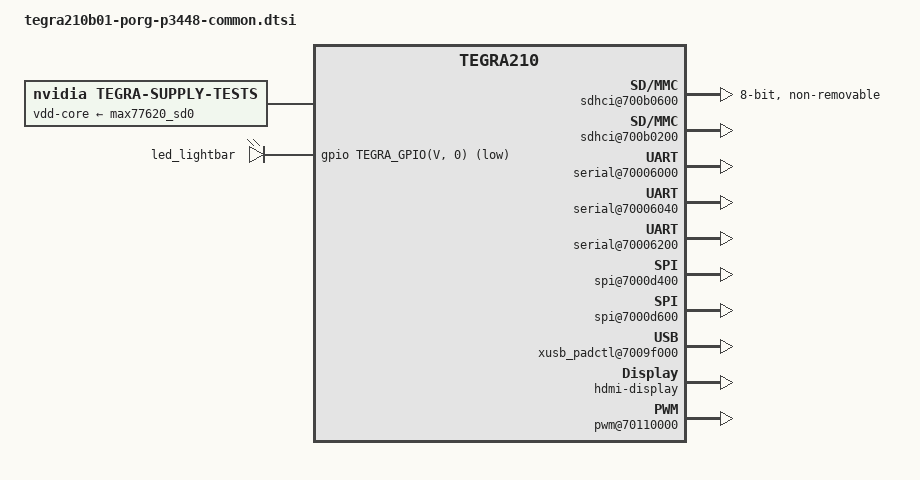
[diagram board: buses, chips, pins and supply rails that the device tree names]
/*
 * Copyright (c) 2018, NVIDIA CORPORATION.  All rights reserved.
 *
 * This program is free software; you can redistribute it and/or modify
 * it under the terms of the GNU General Public License as published by
 * the Free Software Foundation; either version 2 of the License, or
 * (at your option) any later version.
 *
 * This program is distributed in the hope that it will be useful, but WITHOUT
 * ANY WARRANTY; without even the implied warranty of MERCHANTABILITY or
 * FITNESS FOR A PARTICULAR PURPOSE.  See the GNU General Public License for
 * more details.
 *
 * You should have received a copy of the GNU General Public License along
 * with this program; if not, write to the Free Software Foundation, Inc.,
 * 51 Franklin Street, Fifth Floor, Boston, MA  02110-1301, USA.
 */

/dts-v1/;

/memreserve/ 0x80000000 0x00020000;

#include <tegra210b01-soc/tegra210b01-soc-common-platform.dtsi>
#include <tegra210-soc/mods-simple-bus.dtsi>
#include <tegra210-soc/tegra210-audio.dtsi>
#include <t210-common-platforms/tegra210-p2530-common.dtsi>
#include "foster-platforms/tegra210-darcy-gpio-p2894-0000-a00.dtsi"
#include "foster-platforms/tegra210-pinmux-drive-sdmmc-common.dtsi"
#include "foster-platforms/tegra210-loki-e-comms.dtsi"
#include "foster-platforms/tegra210-darcy-pwm-fan.dtsi"
#include "foster-platforms/tegra210-darcy-prods.dtsi"
#include "foster-platforms/tegra210-foster-e-camera.dtsi"
#include <t210-common-platforms/tegra210-ers-hdmi-e2190-1100-a00.dtsi>
#include "foster-platforms/tegra210-darcy-thermal-fan-est.dtsi"
#include "foster-platforms/tegra210-loki-e-keys-p2530-0032-e00.dtsi"
#include <dt-bindings/iio/meter/ina3221x.h>
#include "porg-platforms/tegra210b01-porg-cpufreq.dtsi"
#include "porg-platforms/tegra210b01-porg-power-dvfs.dtsi"
#include "foster-platforms/tegra210-foster-powermon-p2530-0930-e01.dtsi"

/ {
	gpio-keys {
		power {
			gpios = <&gpio TEGRA_GPIO(X, 5) GPIO_ACTIVE_LOW>;
		};
		forcerecovery {
			gpios = <&gpio TEGRA_GPIO(X, 6) GPIO_ACTIVE_LOW>;
		};
	};

	psy_extcon_xudc {
		status = "disabled";
		/delete-property/ dt-override-status-odm-data;
	};

	se_elp@70420000 {
		status = "disabled";
	};

	dummy_cool_dev: dummy-cool-dev {
		compatible = "dummy-cooling-dev";
		#cooling-cells = <2>; /* min followed by max */
	};

	pmc@7000e400 {
		#nvidia,wake-cells = <3>;
		nvidia,suspend-mode = <0>;
		nvidia,cpu-pwr-good-time = <0>;
		nvidia,cpu-pwr-off-time = <0>;
		nvidia,core-pwr-good-time = <4587 3876>;
		nvidia,core-pwr-off-time = <39065>;
		nvidia,core-power-req-active-high;
		nvidia,sys-clock-req-active-high;
		nvidia,restrict-voltage-switch;
		pinctrl_iopad_default:iopad-defaults {
			sdmmc-io-pads {
				pins = "sdmmc1", "sdmmc3";
				nvidia,enable-voltage-switching;
			};
			sdmmc-dpd-enable {
				pins = "emmc2";
				low-power-enable;
			};
		};
	};

	sdhci@700b0600 { /* SDMMC4 for EMMC */
		uhs-mask = <0x0>;
		mmc-hs400-enhanced-strobe;
		built-in;
		power-off-rail;
		status = "okay";
		bus-width = <8>;
		non-removable;
	};

	sdhci@700b0200 { /* SDMMC2 for Wifi */
		mmc-ocr-mask = <0x8>;
		uhs-mask = <0x8>;
		max-clk-limit = <200000000>;
		power-off-rail;
		force-non-removable-rescan;
		status = "okay";
	};

	/* SD Card is present for L4T sku */
	sdhci@700b0000 { /* SDMMC1 for SD card */
		status = "disabled";
	};

	chosen {
		bootargs = "earlycon=uart8250,mmio32,0x70006000,androidboot.secureos=tlk";
		stdout-path = &uarta;
		nvidia,tegra-darcy-sku;
		no-tnid-sn;
		nvidia,bootloader-xusb-enable;
		nvidia,bootloader-vbus-enable=<0x1>;
		fastboot-instructions = "Press X/Y to move highlight\nPress Button A to select\nConnect SHIELD Controller using USB cable. Use USB port near HDMI port for the controller and USB port away for PC connection\n";
		nvidia,fastboot_without_usb;
		nvidia,gpu-disable-power-saving;
		verified-boot {
			ui-timeout-ms {
				yellow-state = <7000>;
				red-state = <10000>;
				orange-state = <10000>;
			};
		};
	};

	serial@70006000 { /* UART-A : UART1: Debug */
		compatible = "nvidia,tegra20-uart", "nvidia,tegra114-hsuart";
		console-port;
		sqa-automation-port;
		/delete-property/ resets;
		/delete-property/ reset-names;
		status = "okay";
	};

	serial@70006040 { /* UART-B : UART2 40 pin header */
		compatible = "nvidia,tegra114-hsuart";
		status = "okay";
	};

	serial@70006200 { /* UART-C : UART3 : M.2 Key E */
		compatible = "nvidia,tegra114-hsuart";
		dma-names = "tx";
		nvidia,adjust-baud-rates = <921600 921600 100>;
		status = "okay";
	};

	spi@7000da00 {
		status = "disabled";
	};

	spi@7000d400 { /* SPI 1 to 40 pin header */
		status = "okay";
	};

	spi@7000d600 { /* SPI 2 to 40 pin header */
		status = "okay";
	};

	aconnect@702c0000 {
		ahub {
			i2s@702d1100 {
				pinctrl-names = "dap_active", "dap_inactive";
				pinctrl-0 = <>;
				pinctrl-1 = <>;
				regulator-supplies = "vdd-1v8-spi-hv", "vdd-1v8-spi-hv-bias";
				vdd-1v8-spi-hv-supply = <&max77620_sd3>;
				vdd-1v8-spi-hv-bias-supply = <&max77620_sd3>;
				fsync-width = <0>;
			};
		};
	};

	watchdog@60005100 {
		nvidia,enable-on-init;
		timeout-sec = <120>;
		status = "disabled";
	};

	extcon {
		extcon@0 {
			status = "disabled";
		};
	};

	mailbox@70098000 {
		status = "okay";
	};

	xusb_padctl@7009f000 {
		status = "okay";

		pads {
			usb2 {
				status = "okay";

				lanes {
					usb2-0 {
						status = "okay";
						nvidia,function = "xusb";
					};
					usb2-1 {
						status = "okay";
						nvidia,function = "xusb";
					};
					usb2-2 {
						status = "okay";
						nvidia,function = "xusb";
					};
				};
			};

			pcie {
				status = "okay";

				lanes {
					pcie-0 {
						status = "okay";
						nvidia,function = "pcie-x1";
					};
					pcie-1 {
						status = "okay";
						nvidia,function = "pcie-x4";
					};
					pcie-2 {
						status = "okay";
						nvidia,function = "pcie-x4";
					};
					pcie-3 {
						status = "okay";
						nvidia,function = "pcie-x4";
					};
					pcie-4 {
						status = "okay";
						nvidia,function = "pcie-x4";
					};
					pcie-5 {
						status = "okay";
						nvidia,function = "xusb";
					};

				};
			};
		};

		ports {
			usb2-0 {
				status = "okay";
				mode = "otg";
			};
			usb2-1 {
				status = "okay";
				mode = "host";
			};
			usb2-2 {
				status = "okay";
				mode = "host";
			};
			usb3-0 {
				status = "okay";
				nvidia,usb2-companion = <1>;
			};
		};
	};

	pinmux@700008d4 {
		pinmux_default: common {
			pz1 {
				nvidia,pins = "pz1";
				nvidia,function = "rsvd2";
				nvidia,pull = <TEGRA_PIN_PULL_UP>;
				nvidia,tristate = <TEGRA_PIN_ENABLE>;
				nvidia,enable-input = <TEGRA_PIN_DISABLE>;
			};
			sdmmc2_clk {
				nvidia,pins = "sdmmc2_clk";
				nvidia,function = "sdmmc2";
				nvidia,pull = <TEGRA_PIN_PULL_NONE>;
				nvidia,tristate = <TEGRA_PIN_DISABLE>;
				nvidia,enable-input = <TEGRA_PIN_ENABLE>;
			};
			sdmmc2_clkb {
				nvidia,pins = "sdmmc2_clkb";
				nvidia,function = "sdmmc2";
				nvidia,pull = <TEGRA_PIN_PULL_NONE>;
				nvidia,tristate = <TEGRA_PIN_DISABLE>;
				nvidia,enable-input = <TEGRA_PIN_ENABLE>;
			};
			sdmmc2_cmd {
				nvidia,pins = "sdmmc2_cmd";
				nvidia,function = "sdmmc2";
				nvidia,pull = <TEGRA_PIN_PULL_UP>;
				nvidia,tristate = <TEGRA_PIN_DISABLE>;
				nvidia,enable-input = <TEGRA_PIN_ENABLE>;
			};
			sdmmc2_dat0 {
				nvidia,pins = "sdmmc2_dat0";
				nvidia,function = "sdmmc2";
				nvidia,pull = <TEGRA_PIN_PULL_UP>;
				nvidia,tristate = <TEGRA_PIN_DISABLE>;
				nvidia,enable-input = <TEGRA_PIN_ENABLE>;
			};
			sdmmc2_dat1 {
				nvidia,pins = "sdmmc2_dat1";
				nvidia,function = "sdmmc2";
				nvidia,pull = <TEGRA_PIN_PULL_UP>;
				nvidia,tristate = <TEGRA_PIN_DISABLE>;
				nvidia,enable-input = <TEGRA_PIN_ENABLE>;
			};
			sdmmc2_dat2 {
				nvidia,pins = "sdmmc2_dat2";
				nvidia,function = "sdmmc2";
				nvidia,pull = <TEGRA_PIN_PULL_UP>;
				nvidia,tristate = <TEGRA_PIN_DISABLE>;
				nvidia,enable-input = <TEGRA_PIN_ENABLE>;
			};
			sdmmc2_dat3 {
				nvidia,pins = "sdmmc2_dat3";
				nvidia,function = "sdmmc2";
				nvidia,pull = <TEGRA_PIN_PULL_UP>;
				nvidia,tristate = <TEGRA_PIN_DISABLE>;
				nvidia,enable-input = <TEGRA_PIN_ENABLE>;
			};
			sdmmc2_dat4 {
				nvidia,pins = "sdmmc2_dat4";
				nvidia,function = "sdmmc2";
				nvidia,pull = <TEGRA_PIN_PULL_UP>;
				nvidia,tristate = <TEGRA_PIN_DISABLE>;
				nvidia,enable-input = <TEGRA_PIN_ENABLE>;
			};
			sdmmc2_dat5 {
				nvidia,pins = "sdmmc2_dat5";
				nvidia,function = "sdmmc2";
				nvidia,pull = <TEGRA_PIN_PULL_UP>;
				nvidia,tristate = <TEGRA_PIN_DISABLE>;
				nvidia,enable-input = <TEGRA_PIN_ENABLE>;
			};
			sdmmc2_dat6 {
				nvidia,pins = "sdmmc2_dat6";
				nvidia,function = "sdmmc2";
				nvidia,pull = <TEGRA_PIN_PULL_UP>;
				nvidia,tristate = <TEGRA_PIN_DISABLE>;
				nvidia,enable-input = <TEGRA_PIN_ENABLE>;
			};
			sdmmc2_dat7 {
				nvidia,pins = "sdmmc2_dat7";
				nvidia,function = "sdmmc2";
				nvidia,pull = <TEGRA_PIN_PULL_UP>;
				nvidia,tristate = <TEGRA_PIN_DISABLE>;
				nvidia,enable-input = <TEGRA_PIN_ENABLE>;
			};
			sdmmc2_dqs {
				nvidia,pins = "sdmmc2_dqs";
				nvidia,function = "sdmmc2";
				nvidia,pull = <TEGRA_PIN_PULL_NONE>;
				nvidia,tristate = <TEGRA_PIN_ENABLE>;
				nvidia,enable-input = <TEGRA_PIN_DISABLE>;
			};
			sdmmc2_dqsb {
				nvidia,pins = "sdmmc2_dqsb";
				nvidia,function = "sdmmc2";
				nvidia,pull = <TEGRA_PIN_PULL_NONE>;
				nvidia,tristate = <TEGRA_PIN_ENABLE>;
				nvidia,enable-input = <TEGRA_PIN_DISABLE>;
			};
		};
		dvfs_pwm_active_state: dvfs_pwm_active {
			dvfs_pwm_pbb1 {
				nvidia,pins = "dvfs_pwm_pbb1";
				nvidia,tristate = <TEGRA_PIN_DISABLE>;
			};
		};

		dvfs_pwm_inactive_state: dvfs_pwm_inactive {
			dvfs_pwm_pbb1 {
				nvidia,pins = "dvfs_pwm_pbb1";
				nvidia,tristate = <TEGRA_PIN_ENABLE>;
			};
		};
		dsi_ab_pad_default: dsi_ab_pad_default {
			dsi_ab_pad_enable {
				nvidia,pins = "pad_dsi_ab";
				nvidia,pad-power = <TEGRA_PIN_ENABLE>;
			};
		};
		dsi_cd_pad_default: dsi_cd_pad_default {
			dsi_cd_pad_enable {
				nvidia,pins = "pad_dsi_cd";
				nvidia,pad-power = <TEGRA_PIN_ENABLE>;
			};
		};
		dsi_ab_pad_idle: dsi_ab_pad_idle {
			dsi_ab_pad_disable {
				nvidia,pins = "pad_dsi_ab";
				nvidia,pad-power = <TEGRA_PIN_DISABLE>;
			};
		};
		dsi_cd_pad_idle: dsi_cd_pad_idle {
			dsi_cd_pad_disable {
				nvidia,pins = "pad_dsi_cd";
				nvidia,pad-power = <TEGRA_PIN_DISABLE>;
			};
		};
	};

	host1x {
		/* tegradc.0 */
		dc@54200000 {
			status = "okay";
			nvidia,dc-flags = <TEGRA_DC_FLAG_ENABLED>;
			nvidia,emc-clk-rate = <300000000>;
			nvidia,cmu-enable = <1>;
			nvidia,fb-bpp = <32>; /* bits per pixel */
			nvidia,fb-flags = <TEGRA_FB_FLIP_ON_PROBE>;
			nvidia,dc-or-node = "/host1x/sor1";
			nvidia,50hz-ss-war;
			nvidia,dc-connector = <&sor1>;
		};
		sor1 {
			status = "okay";
			hdmi-display {
				status = "okay";
			};
		};
		dpaux1 {
			status = "okay";
		};
		vi {
			status = "okay";
		};
	};

	pwm@7000a000 {
		nvidia,no-clk-sleeping-in-ops;
	};

	pwm@70110000 {
		pinctrl-0 = <&dvfs_pwm_active_state>;
		pinctrl-1 = <&dvfs_pwm_inactive_state>;
		pwm-regulator = <&cpu_ovr_reg>;
		status = "okay";
	};

	clock@70110000 {
		status = "okay";
		nvidia,pwm-to-pmic;
		nvidia,init-uv = <800000>;
		nvidia,sample-rate = <25000>;
		nvidia,droop-ctrl = <0x00000f00>;
		nvidia,force-mode = <1>;
		nvidia,cf = <6>;
		nvidia,ci = <0>;
		nvidia,cg = <2>;
		nvidia,idle-override;
		nvidia,one-shot-calibrate;
		nvidia,one-shot-settle-time = <100>;
		nvidia,pwm-period = <2500>; /* 2.5us */
		pinctrl-names = "dvfs_pwm_enable", "dvfs_pwm_disable";
		pinctrl-0 = <&dvfs_pwm_active_state>;
		pinctrl-1 = <&dvfs_pwm_inactive_state>;
		nvidia,align-offset-uv = <500000>;
		nvidia,align-step-uv = <19375>;
	};

	cpus {
		cpu@0 {
			clocks = <&tegra_car TEGRA210_CLK_CCLK_G>,
				<&tegra_car TEGRA210_CLK_CCLK_LP>,
				<&tegra_car TEGRA210_CLK_PLL_X>,
				<&tegra_car TEGRA210_CLK_PLL_P_OUT4>,
				<&tegra_clk_dfll>;
			clock-names = "cpu_g", "cpu_lp", "pll_x", "pll_p", "dfll";
			clock-latency = <300000>;
		};
	};

	memory-controller@70019000 {
		status = "okay";
        };

	dvfs {
		compatible = "nvidia,tegra210b01-dvfs", "nvidia,tegra210-dvfs";
	};

	tegra-supply-tests {
		compatible = "nvidia,tegra-supply-tests";
		vdd-core-supply=<&max77620_sd0>;
	};

	gpu-dvfs-rework {
		status = "okay";
	};

	core_dvfs_cdev_cap {
		clocks = <&tegra_car TEGRA210_CLK_CAP_VCORE_C2BUS>,
			 <&tegra_car TEGRA210_CLK_CAP_VCORE_C3BUS>,
			 <&tegra_car TEGRA210_CLK_CAP_VCORE_CBUS>,
			 <&tegra_car TEGRA210_CLK_CAP_VCORE_APE>;
		clock-names = "c2bus_cap", "c3bus_cap", "cbus_cap", "ape_cap";
	};

	dfll_cap: dfll-cdev-cap {
		compatible = "nvidia,tegra-dfll-cdev-action";
		act-dev = <&tegra_clk_dfll>;
		cdev-type = "DFLL-cap";
		#cooling-cells = <2>; /* min followed by max */
	};

	dfll_floor: dfll-cdev-floor {
		compatible = "nvidia,tegra-dfll-cdev-action";
		act-dev = <&tegra_clk_dfll>;
		cdev-type = "DFLL-floor";
		#cooling-cells = <2>; /* min followed by max */
	};

	gpio-timed-keys {
		status="disabled";
		disable-on-recovery-kernel;
	};

	pwm-leds {
		compatible = "pwm-leds";
		lightbar {
			label = "led_lightbar";
			pwms = <&tegra_pwm 0 40161>;
			gpios = <&gpio TEGRA_GPIO(V, 0) GPIO_ACTIVE_LOW>;
			max-brightness = <255>;
			default-brightness = <255>;
			linux,default-trigger = "default-on";
		};
	};

	soctherm@0x700E2000 {
		status = "okay";
		throttle@oc1 {
			status = "disabled";
		};
	};

	sound_card: sound {
		compatible = "nvidia,tegra-audio-t210ref-mobile-rt565x";
		status = "disabled";
		nvidia,model = "tegra-snd-t210ref-mobile-rt565x";

		clocks = <&tegra_car TEGRA210_CLK_PLL_P_OUT1>,
			<&tegra_car TEGRA210_CLK_PLL_A>,
			<&tegra_car TEGRA210_CLK_PLL_A_OUT0>,
			<&tegra_car TEGRA210_CLK_D_AUDIO>,
			<&tegra_car TEGRA210_CLK_CLK_M>,
			<&tegra_car TEGRA210_CLK_EXTERN1>;
		clock-names = "pll_p_out1", "pll_a", "pll_a_out0", "ahub",
			"clk_m", "extern1";

		assigned-clocks = <&tegra_car TEGRA210_CLK_PLL_A>,
			<&tegra_car TEGRA210_CLK_PLL_A_OUT0>,
			<&tegra_car TEGRA210_CLK_D_AUDIO>,
			<&tegra_car TEGRA210_CLK_EXTERN1>;
		assigned-clock-rates = <368640000>, <36864000>,
			<36864000>, <12288000>;
		nvidia,num-codec-link = <1>;

		nvidia,audio-routing =
			"y Headphone", 	"y OUT",
			"y IN",		"y Mic";

		nvidia,xbar = <&tegra_axbar>;

		/* The codec-dai here is initialized to dummy and will be   */
		/* replaced with rt565x codec-dai on detecting super-module */
		nvidia,dai-link-1 {
			link-name = "rt565x-playback";
			cpu-dai = <&tegra_i2s2>;
			codec-dai = <&spdif_dit0>;
			cpu-dai-name = "I2S2";
			codec-dai-name = "dit-hifi";
			tx-mask = <0xFF>;
			rx-mask = <0xFF>;
			format = "dsp_a";
			bitclock-slave;
			frame-slave;
			bitclock-inversion;
			frame-noninversion;
			bit-format = "s16_le";
			bclk_ratio = <4>;
			srate = <48000>;
			num-channel = <1>;
			ignore_suspend;
			name-prefix = "y";
		};
	};

	nvdumper {
		status = "okay";
	};

	nvs_dsm {
		compatible = "nvidia,nvs_dsm";
		status = "disabled";
	};

	tlk {
		status = "disabled";
	};
};
